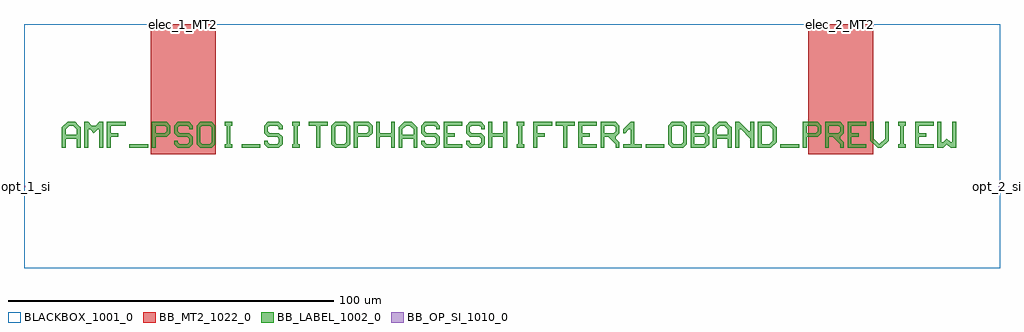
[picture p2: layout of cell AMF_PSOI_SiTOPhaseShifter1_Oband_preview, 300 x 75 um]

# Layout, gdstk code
import gdstk
lib = gdstk.Library(unit=1e-6, precision=1e-09)
def R(c, l, rs):  # rectangles x0, y0, x1, y1
    for r in rs: c.add(gdstk.rectangle(r[:2], r[2:], *l))
def P(c, l, *ps):  # polygons
    for p in ps: c.add(gdstk.Polygon(p, *l))
BLACKBOX_1001_0 = (1001, 0)
BB_LABEL_1002_0 = (1002, 0)
BB_OP_SI_1010_0 = (1010, 0)
BB_MT2_1022_0 = (1022, 0)

amf_psoi_sitophaseshifte = lib.new_cell('AMF_PSOI_SiTOPhaseShifter1_Oband_preview')
R(amf_psoi_sitophaseshifte, BLACKBOX_1001_0, [(0,-25,300,50)])
R(amf_psoi_sitophaseshifte, BB_LABEL_1002_0, [(32.375,11.887,38.125,13.037), (66.875,11.887,72.625,13.037), (191.075,11.887,196.825,13.037), (232.475,11.887,238.225,13.037)])
P(amf_psoi_sitophaseshifte, BB_LABEL_1002_0, [(11.675,11.887),(11.675,18.212),(13.4,19.937),(15.7,19.937),(16.85,18.787),(13.975,18.787),(12.825,17.637),(12.825,15.912),(16.275,15.912),(16.275,17.637),(15.125,18.787),(16.85,18.787),(17.425,18.212),(17.425,11.887),(16.275,11.887),(16.275,14.762),(12.825,14.762),(12.825,11.887)],
  [(18.575,11.887),(18.575,19.937),(19.725,19.937),(20.875,18.787),(22.025,18.787),(23.175,19.937),(24.325,19.937),(24.325,11.887),(23.175,11.887),(23.175,17.637),(22.6,17.637),(21.45,16.487),(20.3,17.637),(19.725,17.637),(19.725,11.887)],
  [(25.475,11.887),(25.475,19.937),(31.225,19.937),(31.225,18.787),(26.625,18.787),(26.625,16.487),(28.925,16.487),(28.925,15.337),(26.625,15.337),(26.625,11.887)],
  [(39.275,11.887),(39.275,19.937),(43.875,19.937),(45.025,18.787),(45.025,16.487),(43.875,15.337),(40.425,15.337),(40.425,16.487),(43.3,16.487),(43.875,17.062),(43.875,18.212),(43.3,18.787),(40.425,18.787),(40.425,11.887)],
  [(47.325,11.887),(46.175,13.037),(46.175,14.187),(47.325,14.187),(47.325,13.612),(47.9,13.037),(50.2,13.037),(50.775,13.612),(50.775,14.762),(50.2,15.337),(47.325,15.337),(46.175,16.487),(46.175,18.787),(47.325,19.937),(50.775,19.937),(51.925,18.787),(51.925,17.637),(50.775,17.637),(50.775,18.212),(50.2,18.787),(47.9,18.787),(47.325,18.212),(47.325,17.062),(47.9,16.487),(50.775,16.487),(51.925,15.337),(51.925,13.037),(50.775,11.887)],
  [(54.225,11.887),(53.075,13.037),(53.075,18.787),(54.225,19.937),(57.675,19.937),(58.825,18.787),(58.825,15.912),(57.675,15.912),(57.675,18.212),(57.1,18.787),(54.8,18.787),(54.225,18.212),(54.225,13.612),(54.8,13.037),(57.1,13.037),(57.675,13.612),(57.675,15.912),(58.825,15.912),(58.825,13.037),(57.675,11.887)],
  [(61.7,11.887),(61.7,13.037),(62.275,13.037),(62.275,18.787),(61.7,18.787),(61.7,19.937),(64,19.937),(64,18.787),(63.425,18.787),(63.425,13.037),(64,13.037),(64,11.887)],
  [(74.925,11.887),(73.775,13.037),(73.775,14.187),(74.925,14.187),(74.925,13.612),(75.5,13.037),(77.8,13.037),(78.375,13.612),(78.375,14.762),(77.8,15.337),(74.925,15.337),(73.775,16.487),(73.775,18.787),(74.925,19.937),(78.375,19.937),(79.525,18.787),(79.525,17.637),(78.375,17.637),(78.375,18.212),(77.8,18.787),(75.5,18.787),(74.925,18.212),(74.925,17.062),(75.5,16.487),(78.375,16.487),(79.525,15.337),(79.525,13.037),(78.375,11.887)],
  [(82.4,11.887),(82.4,13.037),(82.975,13.037),(82.975,18.787),(82.4,18.787),(82.4,19.937),(84.7,19.937),(84.7,18.787),(84.125,18.787),(84.125,13.037),(84.7,13.037),(84.7,11.887)],
  [(89.875,11.887),(89.875,18.787),(87.575,18.787),(87.575,19.937),(93.325,19.937),(93.325,18.787),(91.025,18.787),(91.025,11.887)],
  [(95.625,11.887),(94.475,13.037),(94.475,18.787),(95.625,19.937),(99.075,19.937),(100.225,18.787),(100.225,15.912),(99.075,15.912),(99.075,18.212),(98.5,18.787),(96.2,18.787),(95.625,18.212),(95.625,13.612),(96.2,13.037),(98.5,13.037),(99.075,13.612),(99.075,15.912),(100.225,15.912),(100.225,13.037),(99.075,11.887)],
  [(101.375,11.887),(101.375,19.937),(105.975,19.937),(107.125,18.787),(107.125,16.487),(105.975,15.337),(102.525,15.337),(102.525,16.487),(105.4,16.487),(105.975,17.062),(105.975,18.212),(105.4,18.787),(102.525,18.787),(102.525,11.887)],
  [(108.275,11.887),(108.275,19.937),(109.425,19.937),(109.425,16.487),(112.875,16.487),(112.875,19.937),(114.025,19.937),(114.025,11.887),(112.875,11.887),(112.875,15.337),(109.425,15.337),(109.425,11.887)],
  [(115.175,11.887),(115.175,18.212),(116.9,19.937),(119.2,19.937),(120.35,18.787),(117.475,18.787),(116.325,17.637),(116.325,15.912),(119.775,15.912),(119.775,17.637),(118.625,18.787),(120.35,18.787),(120.925,18.212),(120.925,11.887),(119.775,11.887),(119.775,14.762),(116.325,14.762),(116.325,11.887)],
  [(123.225,11.887),(122.075,13.037),(122.075,14.187),(123.225,14.187),(123.225,13.612),(123.8,13.037),(126.1,13.037),(126.675,13.612),(126.675,14.762),(126.1,15.337),(123.225,15.337),(122.075,16.487),(122.075,18.787),(123.225,19.937),(126.675,19.937),(127.825,18.787),(127.825,17.637),(126.675,17.637),(126.675,18.212),(126.1,18.787),(123.8,18.787),(123.225,18.212),(123.225,17.062),(123.8,16.487),(126.675,16.487),(127.825,15.337),(127.825,13.037),(126.675,11.887)],
  [(128.975,11.887),(128.975,19.937),(134.725,19.937),(134.725,18.787),(130.125,18.787),(130.125,16.487),(132.425,16.487),(132.425,15.337),(130.125,15.337),(130.125,13.037),(134.725,13.037),(134.725,11.887)],
  [(137.025,11.887),(135.875,13.037),(135.875,14.187),(137.025,14.187),(137.025,13.612),(137.6,13.037),(139.9,13.037),(140.475,13.612),(140.475,14.762),(139.9,15.337),(137.025,15.337),(135.875,16.487),(135.875,18.787),(137.025,19.937),(140.475,19.937),(141.625,18.787),(141.625,17.637),(140.475,17.637),(140.475,18.212),(139.9,18.787),(137.6,18.787),(137.025,18.212),(137.025,17.062),(137.6,16.487),(140.475,16.487),(141.625,15.337),(141.625,13.037),(140.475,11.887)],
  [(142.775,11.887),(142.775,19.937),(143.925,19.937),(143.925,16.487),(147.375,16.487),(147.375,19.937),(148.525,19.937),(148.525,11.887),(147.375,11.887),(147.375,15.337),(143.925,15.337),(143.925,11.887)],
  [(151.4,11.887),(151.4,13.037),(151.975,13.037),(151.975,18.787),(151.4,18.787),(151.4,19.937),(153.7,19.937),(153.7,18.787),(153.125,18.787),(153.125,13.037),(153.7,13.037),(153.7,11.887)],
  [(156.575,11.887),(156.575,19.937),(162.325,19.937),(162.325,18.787),(157.725,18.787),(157.725,16.487),(160.025,16.487),(160.025,15.337),(157.725,15.337),(157.725,11.887)],
  [(165.775,11.887),(165.775,18.787),(163.475,18.787),(163.475,19.937),(169.225,19.937),(169.225,18.787),(166.925,18.787),(166.925,11.887)],
  [(170.375,11.887),(170.375,19.937),(176.125,19.937),(176.125,18.787),(171.525,18.787),(171.525,16.487),(173.825,16.487),(173.825,15.337),(171.525,15.337),(171.525,13.037),(176.125,13.037),(176.125,11.887)],
  [(177.275,11.887),(177.275,19.937),(181.875,19.937),(183.025,18.787),(178.425,18.787),(178.425,16.487),(181.3,16.487),(181.875,17.062),(181.875,18.212),(181.3,18.787),(183.025,18.787),(183.025,16.487),(181.875,15.337),(181.875,14.762),(183.025,13.612),(183.025,11.887),(181.875,11.887),(181.875,13.037),(179.575,15.337),(178.425,15.337),(178.425,11.887)],
  [(184.175,11.887),(184.175,13.037),(186.475,13.037),(186.475,17.637),(185.9,17.637),(184.75,16.487),(184.175,16.487),(184.175,17.637),(186.475,19.937),(187.625,19.937),(187.625,13.037),(189.925,13.037),(189.925,11.887)],
  [(199.125,11.887),(197.975,13.037),(197.975,18.787),(199.125,19.937),(202.575,19.937),(203.725,18.787),(203.725,15.912),(202.575,15.912),(202.575,18.212),(202,18.787),(199.7,18.787),(199.125,18.212),(199.125,13.612),(199.7,13.037),(202,13.037),(202.575,13.612),(202.575,15.912),(203.725,15.912),(203.725,13.037),(202.575,11.887)],
  [(204.875,11.887),(204.875,19.937),(209.475,19.937),(210.625,18.787),(206.025,18.787),(206.025,16.487),(208.9,16.487),(209.475,17.062),(209.475,18.212),(208.9,18.787),(210.625,18.787),(210.625,16.487),(210.05,15.912),(210.625,15.337),(206.025,15.337),(206.025,13.037),(208.9,13.037),(209.475,13.612),(209.475,14.762),(208.9,15.337),(210.625,15.337),(210.625,13.037),(209.475,11.887)],
  [(211.775,11.887),(211.775,18.212),(213.5,19.937),(215.8,19.937),(216.95,18.787),(214.075,18.787),(212.925,17.637),(212.925,15.912),(216.375,15.912),(216.375,17.637),(215.225,18.787),(216.95,18.787),(217.525,18.212),(217.525,11.887),(216.375,11.887),(216.375,14.762),(212.925,14.762),(212.925,11.887)],
  [(218.675,11.887),(218.675,19.937),(219.825,19.937),(222.7,17.062),(223.275,17.062),(223.275,19.937),(224.425,19.937),(224.425,11.887),(223.275,11.887),(223.275,14.762),(220.4,17.637),(219.825,17.637),(219.825,11.887)],
  [(225.575,11.887),(225.575,19.937),(229.6,19.937),(230.75,18.787),(226.725,18.787),(226.725,13.037),(229.025,13.037),(230.175,14.187),(230.175,17.637),(229.025,18.787),(230.75,18.787),(231.325,18.212),(231.325,13.612),(229.6,11.887)],
  [(239.375,11.887),(239.375,19.937),(243.975,19.937),(245.125,18.787),(245.125,16.487),(243.975,15.337),(240.525,15.337),(240.525,16.487),(243.4,16.487),(243.975,17.062),(243.975,18.212),(243.4,18.787),(240.525,18.787),(240.525,11.887)],
  [(246.275,11.887),(246.275,19.937),(250.875,19.937),(252.025,18.787),(247.425,18.787),(247.425,16.487),(250.3,16.487),(250.875,17.062),(250.875,18.212),(250.3,18.787),(252.025,18.787),(252.025,16.487),(250.875,15.337),(250.875,14.762),(252.025,13.612),(252.025,11.887),(250.875,11.887),(250.875,13.037),(248.575,15.337),(247.425,15.337),(247.425,11.887)],
  [(253.175,11.887),(253.175,19.937),(258.925,19.937),(258.925,18.787),(254.325,18.787),(254.325,16.487),(256.625,16.487),(256.625,15.337),(254.325,15.337),(254.325,13.037),(258.925,13.037),(258.925,11.887)],
  [(262.375,11.887),(260.075,14.187),(260.075,19.937),(261.225,19.937),(261.225,14.762),(262.95,13.037),(264.675,14.762),(264.675,19.937),(265.825,19.937),(265.825,14.187),(263.525,11.887)],
  [(268.7,11.887),(268.7,13.037),(269.275,13.037),(269.275,18.787),(268.7,18.787),(268.7,19.937),(271,19.937),(271,18.787),(270.425,18.787),(270.425,13.037),(271,13.037),(271,11.887)],
  [(273.875,11.887),(273.875,19.937),(279.625,19.937),(279.625,18.787),(275.025,18.787),(275.025,16.487),(277.325,16.487),(277.325,15.337),(275.025,15.337),(275.025,13.037),(279.625,13.037),(279.625,11.887)],
  [(280.775,11.887),(280.775,19.937),(281.925,19.937),(281.925,13.612),(282.5,13.612),(283.65,14.762),(284.8,13.612),(285.375,13.612),(285.375,19.937),(286.525,19.937),(286.525,11.887),(284.8,11.887),(283.65,13.037),(282.5,11.887)])
R(amf_psoi_sitophaseshifte, BB_OP_SI_1010_0, [(0,-0.205,0.41,0.205), (299.59,-0.205,300,0.205)])
R(amf_psoi_sitophaseshifte, BB_MT2_1022_0, [(39,10,59,50), (241,10,261,50)])
amf_psoi_sitophaseshifte.add(gdstk.Label('opt_2_si', (300,0), layer=1010, texttype=0))
amf_psoi_sitophaseshifte.add(gdstk.Label('opt_1_si', (0,0), layer=1010, texttype=0))
amf_psoi_sitophaseshifte.add(gdstk.Label('elec_1_MT2', (49,50), layer=1022, texttype=0))
amf_psoi_sitophaseshifte.add(gdstk.Label('elec_2_MT2', (251,50), layer=1022, texttype=0))

lib.write_gds('AMF_PSOI_SiTOPhaseShifter1_Oband_preview.gds')
